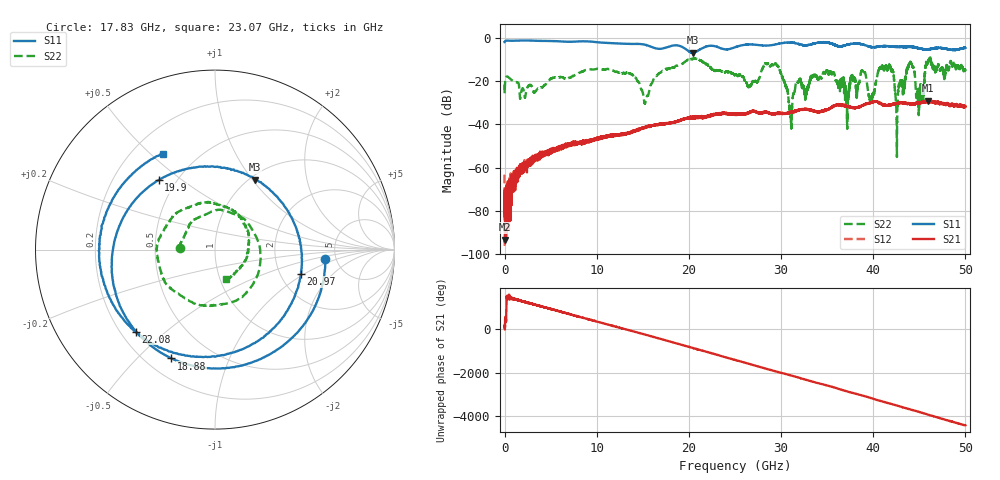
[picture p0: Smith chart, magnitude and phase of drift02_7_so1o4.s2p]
!Created with skrf (http://scikit-rf.org).
# Hz S RI R 50.0
!freq ReS11 ImS11 ReS21 ImS21 ReS12 ImS12 ReS22 ImS22
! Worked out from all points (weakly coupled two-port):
!   10001 points, 300 kHz to 50 GHz, reference 50 ohm
!   highest |S21| = -29.13 dB at 45.89 GHz (marker M1); lowest = -93.2 dB at 75.3 MHz (marker M2)
!   lowest |S11| = -6.9 dB at 20.39 GHz (marker M3), VSWR 2.63, Z = 52.8 + j51.7 ohm
!   |S11| at or under -10 dB: nowhere
!   |S22| runs from -55.1 to -9.1 dB; largest |S21 - S12| = 0.0028
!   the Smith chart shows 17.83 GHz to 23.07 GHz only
!   S11 on the Smith chart (normalised r, x): 17.83 GHz: 4.09, -0.69; 18.88 GHz: 0.30, -0.63; 19.9 GHz: 0.40, +0.41; 20.97 GHz: 2.60, -0.93; 22.08 GHz: 0.26, -0.40; 23.07 GHz: 0.32, +0.55
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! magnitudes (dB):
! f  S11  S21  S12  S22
! 300 kHz  -2.1  -80.6  -63.2  -21.7
! 75.3 MHz  -1.5  -93.2  -79.2  -19.4
! 8.335 GHz  -1.7  -48.5  -48.4  -15.8
! 15.3 GHz  -3.4  -41.5  -41.3  -29.4
! 16.67 GHz  -5.2  -40.0  -40.0  -16.8
! 17.83 GHz  -4.2  -39.7  -39.7  -14.1
! 18.88 GHz  -3.7  -38.5  -38.3  -12.7
! 19.9 GHz  -6.0  -37.0  -37.0  -10.2
! 20.39 GHz  -6.9  -36.8  -36.3  -10.0
! 20.97 GHz  -6.1  -36.6  -36.6  -9.8
! 22.08 GHz  -3.9  -36.2  -36.4  -12.8
! 23.07 GHz  -4.3  -35.0  -35.2  -15.1
! 25 GHz  -4.5  -35.4  -35.4  -17.4
! 29.5 GHz  -3.1  -35.0  -35.2  -12.5
! 31.03 GHz  -2.3  -34.3  -34.8  -36.6
! 33.34 GHz  -3.0  -33.6  -33.5  -18.1
! 38.92 GHz  -3.3  -31.0  -31.0  -15.8
! 39.75 GHz  -4.3  -29.9  -30.1  -29.8
! 41.67 GHz  -4.0  -31.1  -31.1  -13.2
! 42.58 GHz  -4.3  -30.4  -30.3  -46.0
! 45.89 GHz  -5.4  -29.1  -29.4  -11.9
! 50 GHz  -4.7  -31.8  -31.7  -14.9
